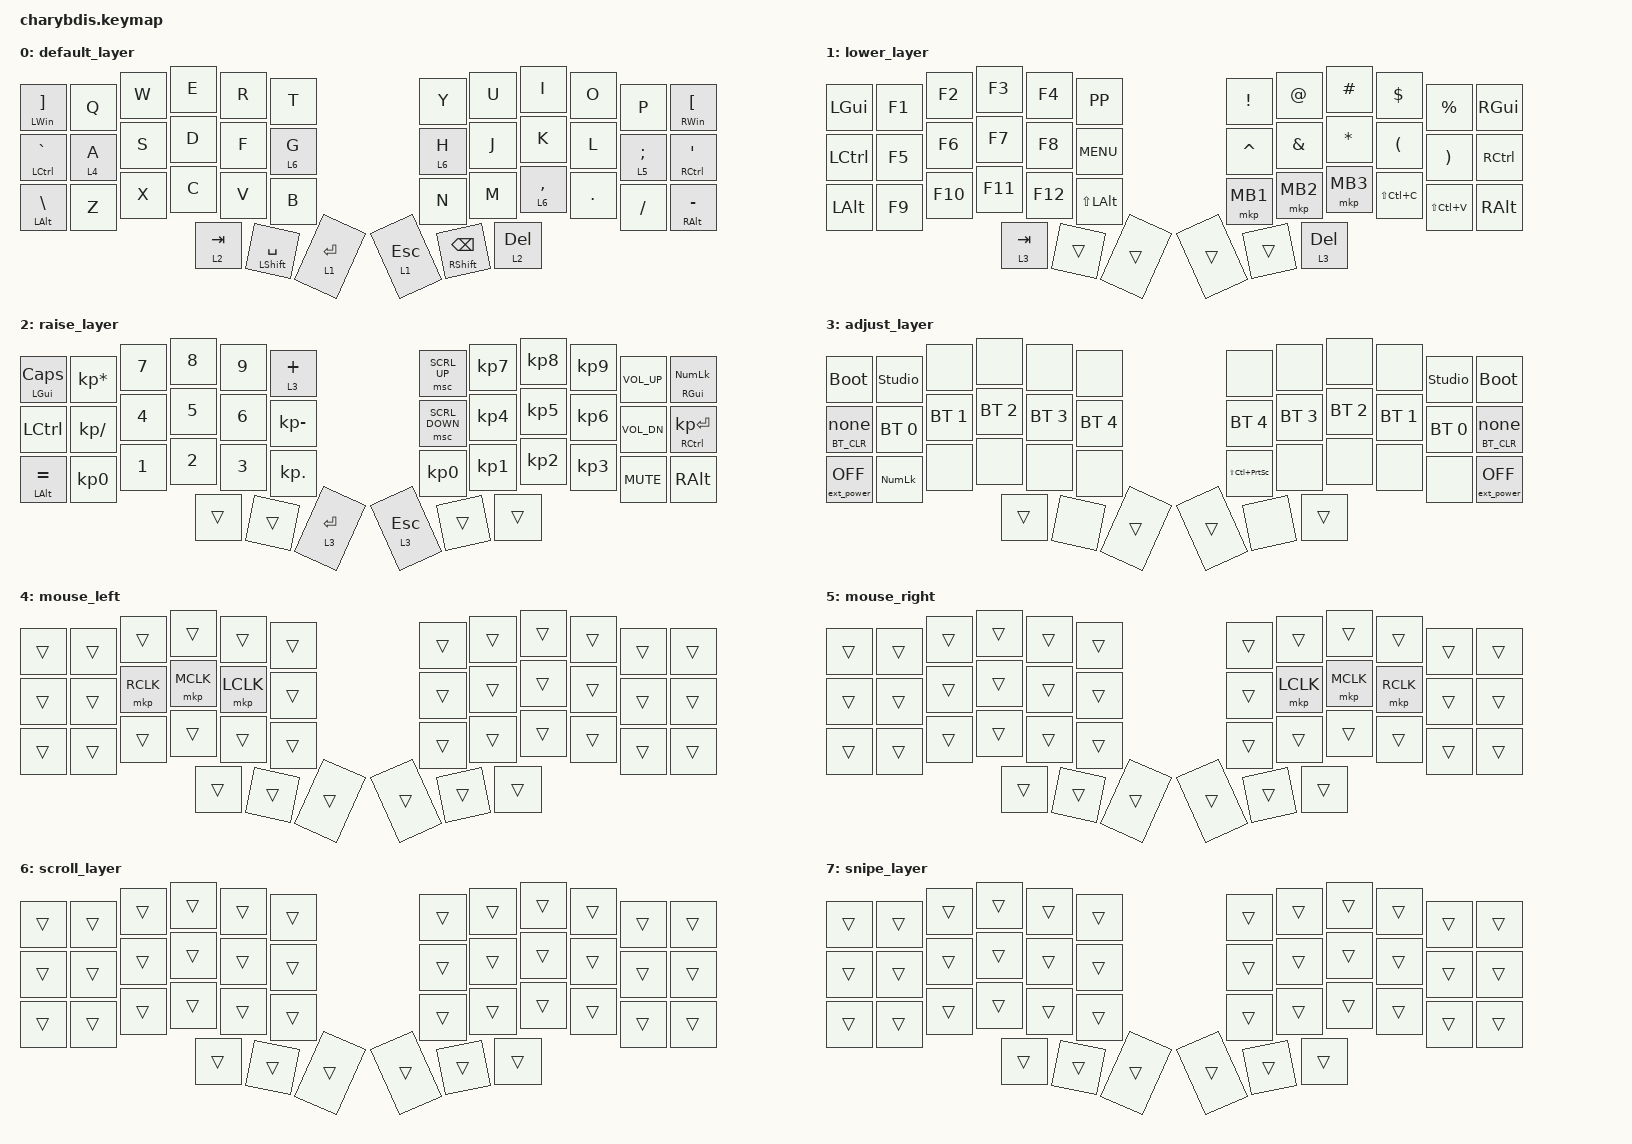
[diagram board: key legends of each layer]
/*
 * Copyright (c) 2020 The ZMK Contributors
 *
 * SPDX-License-Identifier: MIT
 */

#include <behaviors.dtsi>
#include <dt-bindings/zmk/bt.h>
#include <dt-bindings/zmk/ext_power.h>
#include <dt-bindings/zmk/keys.h>
#include <dt-bindings/zmk/pointing.h>

#define DEF 0
#define LWR 1
#define RSE 2
#define ADJ 3

&lt { quick_tap_ms = <220>; };

&mt { quick_tap_ms = <220>; };

/ {
    macros {
        numdot: numdot {
            label = "ZM_numdot";
            compatible = "zmk,behavior-macro";
            #binding-cells = <0>;
            wait-ms = <40>;
            tap-ms = <40>;
            bindings =
                <&macro_press>,
                <&kp LALT>,
                <&macro_tap>,
                <&kp KP_N4 &kp KP_N6>,
                <&macro_release>,
                <&kp LALT>;
        };

        grtsgn: grtsgn {
            label = "ZM_grtsgn";
            compatible = "zmk,behavior-macro";
            #binding-cells = <0>;
            wait-ms = <40>;
            tap-ms = <40>;
            bindings =
                <&macro_press>,
                <&kp LALT>,
                <&macro_tap>,
                <&kp KP_N6 &kp KP_N2>,
                <&macro_release>,
                <&kp LALT>;
        };

        cprght: cprght {
            label = "ZM_cprght";
            compatible = "zmk,behavior-macro";
            #binding-cells = <0>;
            wait-ms = <40>;
            tap-ms = <40>;
            bindings =
                <&macro_press>,
                <&kp LALT>,
                <&macro_tap>,
                <&kp KP_N0 &kp KP_N1 &kp KP_N6 &kp KP_N9>,
                <&macro_release>,
                <&kp LALT>;
        };

        degree: degree {
            label = "ZM_degree";
            compatible = "zmk,behavior-macro";
            #binding-cells = <0>;
            wait-ms = <40>;
            tap-ms = <40>;
            bindings =
                <&macro_press>,
                <&kp LALT>,
                <&macro_tap>,
                <&kp KP_N0 &kp KP_N1 &kp KP_N7 &kp KP_N6>,
                <&macro_release>,
                <&kp LALT>;
        };

        plsmns: plsmns {
            label = "ZM_plsmns";
            compatible = "zmk,behavior-macro";
            #binding-cells = <0>;
            wait-ms = <40>;
            tap-ms = <40>;
            bindings =
                <&macro_press>,
                <&kp LALT>,
                <&macro_tap>,
                <&kp KP_N0 &kp KP_N1 &kp KP_N7 &kp KP_N7>,
                <&macro_release>,
                <&kp LALT>;
        };
    };
};

/ {
    behaviors {
        long_hold: long_hold {
            compatible = "zmk,behavior-hold-tap";
            label = "LONG_HOLD";
            bindings = <&bt>, <&none>;

            #binding-cells = <2>;
            tapping-term-ms = <10000>;
            flavor = "tap-preferred";
        };
    };

    keymap {
        compatible = "zmk,keymap";

        default_layer {
            // ------------------------------------------------------------------------------------------------
            //| LGUI/] |  Q  |  W  |  E  |  R  |  T  |   |  Y  |  U   |  I  |  O  |  P  | RGUI/[ | 
            //| CTRL/` |  A  |  S  |  D  |  F  |  G  |   |  H  |  J   |  K  |  L  |  ;  | CTRL/' |
            //| LALT/\ |  Z  |  X  |  C  |  V  |  B  |   |  N  |  M   |  ,  |  .  |  /  | RALT/- |
            //                             | RSE | SPC | LWR |   | LWR | BKSP | RSE |

            bindings = <
&mt LWIN RBKT    &kp Q    &kp W  &kp E      &kp R            &kp T        &kp Y      &kp U           &kp I        &kp O    &kp P            &mt RWIN LBKT
&mt LCTRL GRAVE  &lt 4 A  &kp S  &kp D      &kp F            &lt 6 G      &lt 6 H    &kp J           &kp K        &kp L    &lt 5 SEMICOLON  &mt RCTRL SQT
&mt LALT BSLH    &kp Z    &kp X  &kp C      &kp V            &kp B        &kp N      &kp M           &lt 6 COMMA  &kp DOT  &kp FSLH         &mt RALT MINUS
                                 &lt 2 TAB  &mt LSHFT SPACE  &lt 1 RET    &lt 1 ESC  &mt RSHFT BSPC  &lt 2 DEL
            >;
        };

        lower_layer {
            // -----------------------------------------------------------------------------------------
            //|LGUI/CAPS |  *  |  7 |  8  |  9  |  +  |    |  !  |  @  |  #  |  $  |  %  | RGUI/F1 |
            //|CTRL/MENU |  /  |  4 |  5  |  6  |  -  |    |  ^  |  &  |  *  |  (  |  )  | CTRL/F2 |
            //|  LALT/=  |  0  |  1 |  4  |  3  |  .  |    |  ls |  F4 |  F5 |  F6 |  F7 | RALT/F3 |
            //                      | ADJ | ___ | ___ |    | ___ | ___ | ADJ |

            bindings = <
&kp LGUI      &kp F1  &kp F2   &kp F3     &kp F4   &kp K_PP            &kp EXCL   &kp AT    &kp HASH   &kp DOLLAR     &kp PERCENT    &kp RGUI
&kp LCTRL     &kp F5  &kp F6   &kp F7     &kp F8   &kp K_MENU          &kp CARET  &kp AMPS  &kp STAR   &kp LPAR       &kp RPAR       &kp RCTRL
&kp LEFT_ALT  &kp F9  &kp F10  &kp F11    &kp F12  &kp LS(LEFT_ALT)    &mkp MB1   &mkp MB2  &mkp MB3   &kp LS(LC(C))  &kp LS(LC(V))  &kp RALT
                               &lt 3 TAB  &trans   &trans              &trans     &trans    &lt 3 DEL
            >;
        };

        raise_layer {
            // -----------------------------------------------------------------------------------------
            //| LGUI |  VOLU  |  PGUP  | PLAY | HOME | ___  |            | ___  | HOME | PLAY| PGUP | VOLU | RGUI |
            //| CTRL |  VOLD  |  LEFT  |  UP  | DOWN | RGHT |            | RGHT | DOWN | UP  | LEFT | VOLD | CTRL | 
            //| LALT |  MUTE  |  PGDN  |  ___ | END  | ___  |            | ___  | END  | ___ | PGDN | MUTE | RALT |
            //                          | ___ | ___  | ADJ  |            | ADJ  | ___  | ___ |

            bindings = <
&mt LEFT_GUI CAPS  &kp KP_MULTIPLY  &kp N7  &kp N8  &kp N9  &lt 3 PLUS      &msc SCRL_UP    &kp KP_N7  &kp KP_N8  &kp KP_N9  &kp C_VOL_UP  &mt RIGHT_GUI KP_NUMLOCK
&kp LCTRL          &kp KP_SLASH     &kp N4  &kp N5  &kp N6  &kp KP_MINUS    &msc SCRL_DOWN  &kp KP_N4  &kp KP_N5  &kp KP_N6  &kp C_VOL_DN  &mt RCTRL KP_ENTER
&mt LALT EQUAL     &kp KP_NUMBER_0  &kp N1  &kp N2  &kp N3  &kp KP_DOT      &kp KP_N0       &kp KP_N1  &kp KP_N2  &kp KP_N3  &kp C_MUTE    &kp RALT
                                            &trans  &trans  &lt 3 RET       &lt 3 ESC       &trans     &trans
            >;
        };

        adjust_layer {
            // -----------------------------------------------------------------------------------------
            //| BLDR |     |     |     |     |     |   |     |     |     |     |     | BLDR |
            //| BTCLR| BT0 | BT1 | BT2 | BT3 | BT4 |   | BT4 | BT3 | BT2 | BT1 | BT0 | BTCLR|
            //|pwrOFF|NUMLK|     |     |     |     |   |     |     |     |     |     |      |
            //                   |     |     |     |   |     |     |     |

            bindings = <
&bootloader          &studio_unlock  &none         &none         &none         &none           &none                    &none         &none         &none         &studio_unlock  &bootloader
&long_hold BT_CLR 0  &bt BT_SEL 0    &bt BT_SEL 1  &bt BT_SEL 2  &bt BT_SEL 3  &bt BT_SEL 4    &bt BT_SEL 4             &bt BT_SEL 3  &bt BT_SEL 2  &bt BT_SEL 1  &bt BT_SEL 0    &long_hold BT_CLR 0
&ext_power EP_OFF    &kp KP_NUM      &none         &none         &none         &none           &kp LS(LC(PRINTSCREEN))  &none         &none         &none         &none           &ext_power EP_OFF
                                                   &trans        &none         &trans          &trans                   &none         &trans
            >;
        };

        mouse_left {
            bindings = <
&trans  &trans  &trans     &trans     &trans     &trans    &trans  &trans  &trans  &trans  &trans  &trans
&trans  &trans  &mkp RCLK  &mkp MCLK  &mkp LCLK  &trans    &trans  &trans  &trans  &trans  &trans  &trans
&trans  &trans  &trans     &trans     &trans     &trans    &trans  &trans  &trans  &trans  &trans  &trans
                           &trans     &trans     &trans    &trans  &trans  &trans
            >;
        };

        mouse_right {
            bindings = <
&trans  &trans  &trans  &trans  &trans  &trans    &trans  &trans     &trans     &trans     &trans  &trans
&trans  &trans  &trans  &trans  &trans  &trans    &trans  &mkp LCLK  &mkp MCLK  &mkp RCLK  &trans  &trans
&trans  &trans  &trans  &trans  &trans  &trans    &trans  &trans     &trans     &trans     &trans  &trans
                        &trans  &trans  &trans    &trans  &trans     &trans
            >;
        };

        scroll_layer {
            bindings = <
&trans  &trans  &trans  &trans  &trans  &trans    &trans  &trans  &trans  &trans  &trans  &trans
&trans  &trans  &trans  &trans  &trans  &trans    &trans  &trans  &trans  &trans  &trans  &trans
&trans  &trans  &trans  &trans  &trans  &trans    &trans  &trans  &trans  &trans  &trans  &trans
                        &trans  &trans  &trans    &trans  &trans  &trans
            >;
        };

        snipe_layer {
            bindings = <
&trans  &trans  &trans  &trans  &trans  &trans    &trans  &trans  &trans  &trans  &trans  &trans
&trans  &trans  &trans  &trans  &trans  &trans    &trans  &trans  &trans  &trans  &trans  &trans
&trans  &trans  &trans  &trans  &trans  &trans    &trans  &trans  &trans  &trans  &trans  &trans
                        &trans  &trans  &trans    &trans  &trans  &trans
            >;
        };
    };
};

